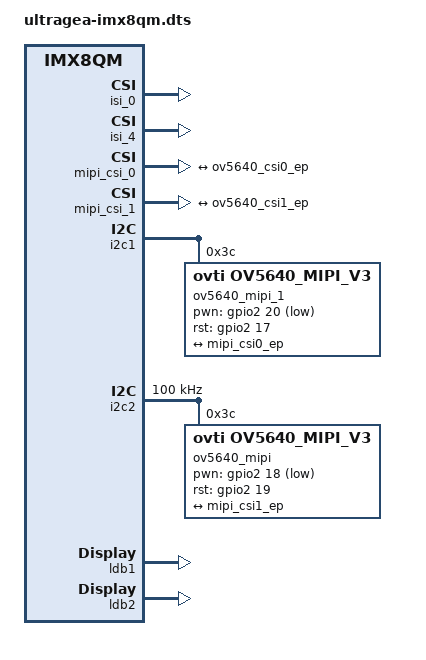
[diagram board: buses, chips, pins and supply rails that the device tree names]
/*
 * Copyright 2017-2018 NXP
 *
 * This program is free software; you can redistribute it and/or
 * modify it under the terms of the GNU General Public License
 * as published by the Free Software Foundation; either version 2
 * of the License, or (at your option) any later version.
 *
 * This program is distributed in the hope that it will be useful,
 * but WITHOUT ANY WARRANTY; without even the implied warranty of
 * MERCHANTABILITY or FITNESS FOR A PARTICULAR PURPOSE.  See the
 * GNU General Public License for more details.
 */

/dts-v1/;

#include "ultragea-imx8qm.dtsi"

&iomuxc {
	pinctrl-names = "default";

	imx8qm-icore {
		pinctrl_mipi_csi0_en_rst: mipi_csi0_en_rst {
			fsl,pins = <
				SC_P_SPI3_SCK_LSIO_GPIO2_IO17		0x00000021		/* Reset */
				SC_P_SPI3_CS0_LSIO_GPIO2_IO20		0x00000021		/* Power down */
			>;
                };

		pinctrl_mipi_csi1_en_rst: mipi_csi1_en_rst {
			fsl,pins = <
				SC_P_SPI3_SDO_LSIO_GPIO2_IO18         0x00000021
				SC_P_SPI3_SDI_LSIO_GPIO2_IO19         0x00000021
			>;
                };
		pinctrl_i2c2: i2c2grp {
			fsl,pins = <
				SC_P_GPT1_CLK_DMA_I2C2_SCL 0x0600004c
				SC_P_GPT1_CAPTURE_DMA_I2C2_SDA 0x0600004c
			>;
		};
	};
};

&jpegdec{
	status = "disabled";
};

&jpegenc{
	status = "disabled";
};

&isi_0 {
	status = "okay";
};

&isi_4 {
	status = "okay";
};

&isi_1 {
	status = "disabled";
};

&isi_2 {
	status = "disabled";
};

&isi_3 {
	status = "disabled";
};

&isi_5 {
	status = "disabled";
};

&isi_6 {
	status = "disabled";
};

&isi_7 {
	status = "disabled";
};

&mipi_csi_0 {
	#address-cells = <1>;
	#size-cells = <0>;
	status = "okay";

	/* Camera 0  MIPI CSI-2 (CSIS0) */
	port@0 {
		reg = <0>;
		mipi_csi0_ep: endpoint {
			remote-endpoint = <&ov5640_csi0_ep>;
			data-lanes = <1 2>;
		};
	};
};

&mipi_csi_1 {
	#address-cells = <1>;
	#size-cells = <0>;
	status = "okay";

	/* Camera 1  MIPI CSI-2 (CSIS1) */
	port@1 {
		reg = <1>;
		mipi_csi1_ep: endpoint {
			remote-endpoint = <&ov5640_csi1_ep>;
			data-lanes = <1 2>;
		};
	};
};
&i2c1 {
	/* MIPI-CSI2 sensor */
	ov5640_mipi_1: ov5640_mipi-1@3c {
		status = "okay";
		compatible = "ovti,ov5640_mipi_v3";
		reg = <0x3c>;
		pinctrl-names = "default";
		pinctrl-0 = <&pinctrl_mipi_csi0_en_rst>;
		clocks = <&clk IMX8QM_24MHZ>;
		clock-names = "csi_mclk";
		csi_id = <0>;
		pwn-gpios = <&gpio2 20 GPIO_ACTIVE_LOW>;
		rst-gpios = <&gpio2 17 GPIO_ACTIVE_HIGH>;
		mclk = <24000000>;
		mclk_source = <0>;
		mipi_csi;

		port {
			ov5640_csi0_ep: endpoint {
				remote-endpoint = <&mipi_csi0_ep>;
			};
		};

	};

};

&i2c2 {
	#address-cells = <1>;
	#size-cells = <0>;
	clock-frequency = <100000>;
	pinctrl-names = "default";
	pinctrl-0 = <&pinctrl_i2c2>;
	status = "okay";

	/* MIPI-CSI2 sensor */
	ov5640_mipi@3c {
		compatible = "ovti,ov5640_mipi_v3";
		reg = <0x3c>;
		pinctrl-names = "default";
		pinctrl-0 = <&pinctrl_mipi_csi1_en_rst>;
		clocks = <&clk IMX8QM_24MHZ>;
		clock-names = "csi_mclk";
		csi_id = <1>;
		pwn-gpios = <&gpio2 18 GPIO_ACTIVE_LOW>;
		rst-gpios = <&gpio2 19 GPIO_ACTIVE_HIGH>;
		mclk = <24000000>;
		mclk_source = <0>;
		mipi_csi;
		status = "okay";
		port {
			ov5640_csi1_ep: endpoint {
				remote-endpoint = <&mipi_csi1_ep>;
			};
		};
	};
};

&ldb1 {
	status = "okay";

	lvds-channel@0 {
		fsl,data-mapping = "spwg";
		fsl,data-width = <24>;
		status = "okay";

		display-timings {
			lvds {
				clock-frequency = <71000000>;
				hactive = <1280>;
				vactive = <800>;
				hsync-len = <136>;
				hfront-porch = <20>;
				hback-porch = <160>;
				vfront-porch = <3>;
				vback-porch = <29>;
				vsync-len = <6>;
				hsync-active = <0>;
				vsync-active = <0>;
				de-active = <1>;
				pixelclk-active = <0>;
			};
		};
	};
};

&ldb2 {
	status = "okay";

	lvds-channel@0 {
		fsl,data-mapping = "spwg";
		fsl,data-width = <24>;
		status = "okay";

		display-timings {
			lvds {
				clock-frequency = <71000000>;
				hactive = <1280>;
				vactive = <800>;
				hsync-len = <136>;
				hfront-porch = <20>;
				hback-porch = <160>;
				vfront-porch = <3>;
				vback-porch = <29>;
				vsync-len = <6>;
				hsync-active = <0>;
				vsync-active = <0>;
				de-active = <1>;
				pixelclk-active = <0>;
			};
		};
	};
};
